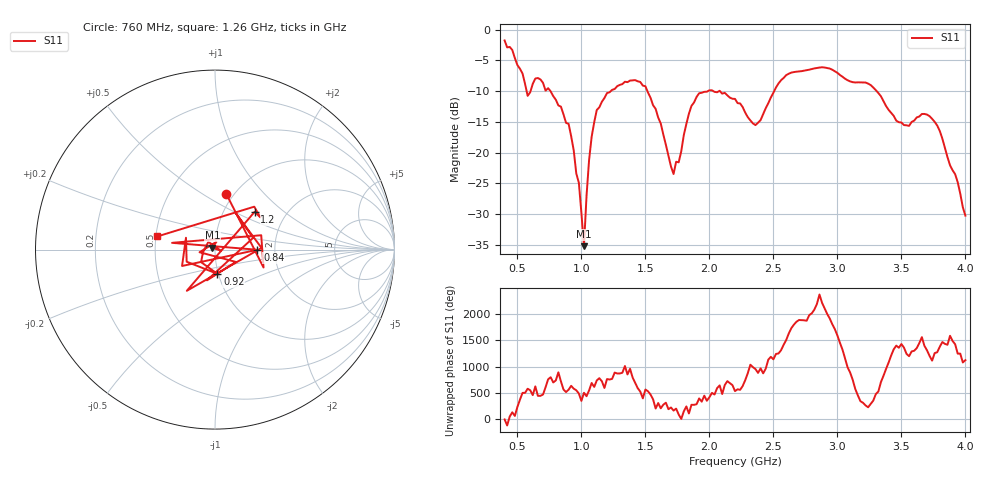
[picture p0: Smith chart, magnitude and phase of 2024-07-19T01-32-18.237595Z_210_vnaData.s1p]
!Created with skrf (http://scikit-rf.org).
# Hz S RI R 50.0
!freq ReS11 ImS11
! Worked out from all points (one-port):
!   181 points, 400 MHz to 4 GHz, reference 50 ohm
!   lowest |S11| = -35.2 dB at 1.02 GHz (marker M1), VSWR 1.04, Z = 48.6 + j0.976 ohm
!   |S11| at or under -10 dB: 758.8 MHz to 1.229 GHz (470.3 MHz wide, 47.3 % of centre); 1.516 GHz to 1.987 GHz (471.5 MHz wide, 26.9 % of centre); 3.307 GHz to end of sweep (the widest 3 of 6)
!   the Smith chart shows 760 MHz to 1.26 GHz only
!   S11 on the Smith chart (normalised r, x): 760 MHz: 0.93, +0.64; 840 MHz: 1.62, -0.00; 920 MHz: 0.99, -0.27; 1.2 GHz: 1.39, +0.65; 1.26 GHz: 0.51, +0.08
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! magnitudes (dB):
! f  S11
! 400 MHz  -1.8
! 580 MHz  -10.8
! 640 MHz  -7.9
! 760 MHz  -10.0
! 840 MHz  -12.5
! 860 MHz  -13.8
! 920 MHz  -17.3
! 980 MHz  -24.9
! 1.02 GHz  -35.2
! 1.04 GHz  -27.1
! 1.08 GHz  -17.4
! 1.12 GHz  -13.1
! 1.2 GHz  -10.3
! 1.26 GHz  -9.6
! 1.3 GHz  -9.0
! 1.5 GHz  -9.2
! 1.72 GHz  -23.5
! 1.76 GHz  -21.6
! 1.84 GHz  -13.7
! 1.92 GHz  -10.3
! 2.2 GHz  -11.3
! 2.36 GHz  -15.5
! 2.66 GHz  -6.9
! 3.1 GHz  -8.4
! 3.26 GHz  -9.0
! 3.56 GHz  -15.6
! 3.78 GHz  -15.6
! 4 GHz  -30.2
